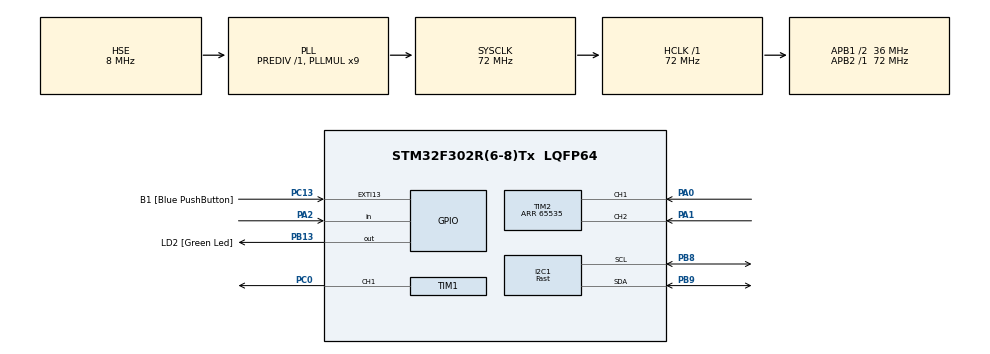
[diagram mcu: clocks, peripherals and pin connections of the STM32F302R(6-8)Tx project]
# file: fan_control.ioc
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I2C1.I2C_Speed_Mode=I2C_Fast
I2C1.Timing=0x0000020B
Mcu.Family=STM32F3
Mcu.Name=STM32F302R(6-8)Tx
Mcu.Package=LQFP64
NVIC.PriorityGroup=NVIC_PRIORITYGROUP_0
PA0.Signal=S_TIM2_CH1_ETR
PA1.Signal=S_TIM2_CH2
PA10.Signal=USART1_RX
PA13.GPIO_Label=TMS
PA13.Mode=Serial_Wire
PA13.Signal=SYS_JTMS-SWDIO
PA14.GPIO_Label=TCK
PA14.Mode=Serial_Wire
PA14.Signal=SYS_JTCK-SWCLK
PA2.Signal=GPIO_Input
PA3.GPIO_Label=USART_RX
PA3.GPIO_Mode=GPIO_MODE_AF_PP
PA3.GPIO_PuPd=GPIO_NOPULL
PA3.GPIO_Speed=GPIO_SPEED_FREQ_LOW
PA3.Signal=USART2_RX
PA9.Signal=USART1_TX
PB13.GPIO_Label=LD2 [Green Led]
PB13.Signal=GPIO_Output
PB3.GPIO_Label=SWO
PB3.Mode=Trace_Asynchronous_SW
PB3.Signal=SYS_JTDO-TRACESWO
PB8.Mode=I2C
PB8.Signal=I2C1_SCL
PB9.Mode=I2C
PB9.Signal=I2C1_SDA
PC0.Signal=S_TIM1_CH1
PC13.GPIO_Label=B1 [Blue PushButton]
PC13.GPIO_ModeDefaultEXTI=GPIO_MODE_IT_FALLING
PC13.Signal=GPXTI13
PC14\ -\ OSC32_IN.Mode=LSE-External-Oscillator
PC14\ -\ OSC32_IN.Signal=RCC_OSC32_IN
PC15\ -\ OSC32_OUT.Mode=LSE-External-Oscillator
PC15\ -\ OSC32_OUT.Signal=RCC_OSC32_OUT
PF0-OSC_IN.Mode=HSE-External-Oscillator
PF0-OSC_IN.Signal=RCC_OSC_IN
PF1-OSC_OUT.Mode=HSE-External-Oscillator
PF1-OSC_OUT.Signal=RCC_OSC_OUT
ProjectManager.HeapSize=0x200
ProjectManager.StackSize=0x400
ProjectManager.TargetToolchain=STM32CubeIDE
RCC.AHBFreq_Value=72000000
RCC.APB1CLKDivider=RCC_HCLK_DIV2
RCC.APB1Freq_Value=36000000
RCC.APB1TimFreq_Value=72000000
RCC.APB2Freq_Value=72000000
RCC.APB2TimFreq_Value=72000000
RCC.CortexFreq_Value=72000000
RCC.HCLKFreq_Value=72000000
RCC.HSE_VALUE=8000000
RCC.HSI_VALUE=8000000
RCC.PLLM=8
RCC.PLLMUL=RCC_PLL_MUL9
RCC.PLLN=336
RCC.PLLP=RCC_PLLP_DIV4
RCC.PLLQ=7
RCC.PLLSourceVirtual=RCC_PLLSOURCE_HSE
RCC.SYSCLKFreq_VALUE=72000000
RCC.SYSCLKSourceVirtual=RCC_SYSCLKSOURCE_PLLCLK
RCC.USBFreq_Value=72000000
SH.S_TIM1_CH1.0=TIM1_CH1,PWM Generation1 CH1
SH.S_TIM2_CH1_ETR.0=TIM2_CH1,Encoder_Interface
SH.S_TIM2_CH2.0=TIM2_CH2,Encoder_Interface
STMicroelectronics.X-CUBE-AI.9.0.0.HeapSize=0x800
STMicroelectronics.X-CUBE-AI.9.0.0.ReadyForCodeGeneration=false
STMicroelectronics.X-CUBE-AI.9.0.0.StackSize=0x800
TIM1.AutoReloadPreload=TIM_AUTORELOAD_PRELOAD_ENABLE
TIM1.Channel-PWM\ Generation1\ CH1=TIM_CHANNEL_1
TIM1.Period=2878
TIM2.AutoReloadPreload=TIM_AUTORELOAD_PRELOAD_ENABLE
TIM2.EncoderMode=TIM_ENCODERMODE_TI12
TIM2.IC1Filter=10
TIM2.Period=65535
VP_TIM1_VS_ClockSourceINT.Mode=Internal
board=NUCLEO-F302R8

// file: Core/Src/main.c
/* USER CODE BEGIN Header */
/**
  ******************************************************************************
  * @file           : main.c
  * @brief          : Main program body
  ******************************************************************************
  * @attention
  *
  * Copyright (c) 2024 STMicroelectronics.
  * All rights reserved.
  *
  * This software is licensed under terms that can be found in the LICENSE file
  * in the root directory of this software component.
  * If no LICENSE file comes with this software, it is provided AS-IS.
  *
  ******************************************************************************
  */
/* USER CODE END Header */
#include "main.h"

/* USER CODE BEGIN Includes */
#include "ssd1306.h"
#include "fonts.h"
#include "test.h"
/* USER CODE END Includes */

/* USER CODE BEGIN PD */
#define MAX_ENCODER_COUNT 115 // Adjust this based on your needs
/* USER CODE END PD */

I2C_HandleTypeDef hi2c1;

TIM_HandleTypeDef htim1;
TIM_HandleTypeDef htim2;

void SystemClock_Config(void);
static void MX_GPIO_Init(void);
static void MX_I2C1_Init(void);
static void MX_TIM2_Init(void);
static void MX_TIM1_Init(void);

int main(void)
{

  /* USER CODE BEGIN 1 */
	static uint8_t PWM_Speed[50];
	static uint8_t PWM_test[50];
	float duty_cycle_percentage;
	uint16_t encoder_value = 0;
	uint32_t scaled_encoder_value = 0;

  /* USER CODE END 1 */

  /* MCU Configuration--------------------------------------------------------*/

  /* Reset of all peripherals, Initializes the Flash interface and the Systick. */
  HAL_Init();

  /* Configure the system clock */
  SystemClock_Config();

  /* Initialize all configured peripherals */
  MX_GPIO_Init();
  MX_I2C1_Init();
  MX_TIM2_Init();
  MX_TIM1_Init();
  /* USER CODE BEGIN 2 */
  SSD1306_Init (); // initialize the display
  // Start the encoder and PWM timers
  HAL_TIM_Encoder_Start(&htim2, TIM_CHANNEL_ALL);
  HAL_TIM_PWM_Start(&htim1, TIM_CHANNEL_1);
/*
  SSD1306_GotoXY (10,10); // goto 10, 10
  SSD1306_Puts ("testing", &Font_7x10, 1); // print Hello

  SSD1306_GotoXY (10, 30);
  SSD1306_Puts ("WORLD !!", &Font_11x18, 1);
  SSD1306_UpdateScreen(); // update screen
  */
  HAL_TIM_Encoder_Start(&htim2, TIM_CHANNEL_ALL); //Start encoder timer

  /* USER CODE END 2 */

  /* Infinite loop */
  /* USER CODE BEGIN WHILE */
  while (1)
  {
      encoder_value = TIM2->CNT;

      // Ensure encoder_value is within the valid range
      if (encoder_value >= MAX_ENCODER_COUNT)
      {
    	  TIM2->CNT = MAX_ENCODER_COUNT;
    	  encoder_value =  TIM2->CNT;
      }
      else if(encoder_value <= 0)
      {
    	  TIM2->CNT = 0;
    	  encoder_value =  TIM2->CNT;
      }

      // Scale the encoder value up by a factor to increase the steps
      scaled_encoder_value = encoder_value * 25;  // Adjust the factor to control step size

      // Update the PWM duty cycle
      TIM1->CCR1 = scaled_encoder_value;
      duty_cycle_percentage = ((float)scaled_encoder_value / 2875) * 100;
      HAL_Delay(10);
      sprintf((char *)PWM_Speed, "PWM: %3.2f", duty_cycle_percentage);
      SSD1306_GotoXY(10, 30);
      SSD1306_Puts((char *)PWM_Speed, &Font_7x10, 1);
      SSD1306_UpdateScreen();
    /* USER CODE END WHILE */

  }
}

void SystemClock_Config(void)
{
  RCC_OscInitTypeDef RCC_OscInitStruct = {0};
  RCC_ClkInitTypeDef RCC_ClkInitStruct = {0};
  RCC_PeriphCLKInitTypeDef PeriphClkInit = {0};

  /** Initializes the RCC Oscillators according to the specified parameters
  * in the RCC_OscInitTypeDef structure.
  */
  RCC_OscInitStruct.OscillatorType = RCC_OSCILLATORTYPE_HSI|RCC_OSCILLATORTYPE_HSE;
  RCC_OscInitStruct.HSEState = RCC_HSE_ON;
  RCC_OscInitStruct.HSEPredivValue = RCC_HSE_PREDIV_DIV1;
  RCC_OscInitStruct.HSIState = RCC_HSI_ON;
  RCC_OscInitStruct.HSICalibrationValue = RCC_HSICALIBRATION_DEFAULT;
  RCC_OscInitStruct.PLL.PLLState = RCC_PLL_ON;
  RCC_OscInitStruct.PLL.PLLSource = RCC_PLLSOURCE_HSE;
  RCC_OscInitStruct.PLL.PLLMUL = RCC_PLL_MUL9;
  if (HAL_RCC_OscConfig(&RCC_OscInitStruct) != HAL_OK)
  {
    Error_Handler();
  }

  /** Initializes the CPU, AHB and APB buses clocks
  */
  RCC_ClkInitStruct.ClockType = RCC_CLOCKTYPE_HCLK|RCC_CLOCKTYPE_SYSCLK
                              |RCC_CLOCKTYPE_PCLK1|RCC_CLOCKTYPE_PCLK2;
  RCC_ClkInitStruct.SYSCLKSource = RCC_SYSCLKSOURCE_PLLCLK;
  RCC_ClkInitStruct.AHBCLKDivider = RCC_SYSCLK_DIV1;
  RCC_ClkInitStruct.APB1CLKDivider = RCC_HCLK_DIV2;
  RCC_ClkInitStruct.APB2CLKDivider = RCC_HCLK_DIV1;

  if (HAL_RCC_ClockConfig(&RCC_ClkInitStruct, FLASH_LATENCY_2) != HAL_OK)
  {
    Error_Handler();
  }
  PeriphClkInit.PeriphClockSelection = RCC_PERIPHCLK_I2C1|RCC_PERIPHCLK_TIM1;
  PeriphClkInit.I2c1ClockSelection = RCC_I2C1CLKSOURCE_HSI;
  PeriphClkInit.Tim1ClockSelection = RCC_TIM1CLK_HCLK;
  if (HAL_RCCEx_PeriphCLKConfig(&PeriphClkInit) != HAL_OK)
  {
    Error_Handler();
  }
}

static void MX_I2C1_Init(void)
{

  hi2c1.Instance = I2C1;
  hi2c1.Init.Timing = 0x0000020B;
  hi2c1.Init.OwnAddress1 = 0;
  hi2c1.Init.AddressingMode = I2C_ADDRESSINGMODE_7BIT;
  hi2c1.Init.DualAddressMode = I2C_DUALADDRESS_DISABLE;
  hi2c1.Init.OwnAddress2 = 0;
  hi2c1.Init.OwnAddress2Masks = I2C_OA2_NOMASK;
  hi2c1.Init.GeneralCallMode = I2C_GENERALCALL_DISABLE;
  hi2c1.Init.NoStretchMode = I2C_NOSTRETCH_DISABLE;
  if (HAL_I2C_Init(&hi2c1) != HAL_OK)
  {
    Error_Handler();
  }

  /** Configure Analogue filter
  */
  if (HAL_I2CEx_ConfigAnalogFilter(&hi2c1, I2C_ANALOGFILTER_ENABLE) != HAL_OK)
  {
    Error_Handler();
  }

  /** Configure Digital filter
  */
  if (HAL_I2CEx_ConfigDigitalFilter(&hi2c1, 0) != HAL_OK)
  {
    Error_Handler();
  }

}

static void MX_TIM1_Init(void)
{

  TIM_ClockConfigTypeDef sClockSourceConfig = {0};
  TIM_MasterConfigTypeDef sMasterConfig = {0};
  TIM_OC_InitTypeDef sConfigOC = {0};
  TIM_BreakDeadTimeConfigTypeDef sBreakDeadTimeConfig = {0};

  htim1.Instance = TIM1;
  htim1.Init.Prescaler = 0;
  htim1.Init.CounterMode = TIM_COUNTERMODE_UP;
  htim1.Init.Period = 2878;
  htim1.Init.ClockDivision = TIM_CLOCKDIVISION_DIV1;
  htim1.Init.RepetitionCounter = 0;
  htim1.Init.AutoReloadPreload = TIM_AUTORELOAD_PRELOAD_ENABLE;
  if (HAL_TIM_Base_Init(&htim1) != HAL_OK)
  {
    Error_Handler();
  }
  sClockSourceConfig.ClockSource = TIM_CLOCKSOURCE_INTERNAL;
  if (HAL_TIM_ConfigClockSource(&htim1, &sClockSourceConfig) != HAL_OK)
  {
    Error_Handler();
  }
  if (HAL_TIM_PWM_Init(&htim1) != HAL_OK)
  {
    Error_Handler();
  }
  sMasterConfig.MasterOutputTrigger = TIM_TRGO_RESET;
  sMasterConfig.MasterOutputTrigger2 = TIM_TRGO2_RESET;
  sMasterConfig.MasterSlaveMode = TIM_MASTERSLAVEMODE_DISABLE;
  if (HAL_TIMEx_MasterConfigSynchronization(&htim1, &sMasterConfig) != HAL_OK)
  {
    Error_Handler();
  }
  sConfigOC.OCMode = TIM_OCMODE_PWM1;
  sConfigOC.Pulse = 0;
  sConfigOC.OCPolarity = TIM_OCPOLARITY_HIGH;
  sConfigOC.OCNPolarity = TIM_OCNPOLARITY_HIGH;
  sConfigOC.OCFastMode = TIM_OCFAST_DISABLE;
  sConfigOC.OCIdleState = TIM_OCIDLESTATE_RESET;
  sConfigOC.OCNIdleState = TIM_OCNIDLESTATE_RESET;
  if (HAL_TIM_PWM_ConfigChannel(&htim1, &sConfigOC, TIM_CHANNEL_1) != HAL_OK)
  {
    Error_Handler();
  }
  sBreakDeadTimeConfig.OffStateRunMode = TIM_OSSR_DISABLE;
  sBreakDeadTimeConfig.OffStateIDLEMode = TIM_OSSI_DISABLE;
  sBreakDeadTimeConfig.LockLevel = TIM_LOCKLEVEL_OFF;
  sBreakDeadTimeConfig.DeadTime = 0;
  sBreakDeadTimeConfig.BreakState = TIM_BREAK_DISABLE;
  sBreakDeadTimeConfig.BreakPolarity = TIM_BREAKPOLARITY_HIGH;
  sBreakDeadTimeConfig.BreakFilter = 0;
  sBreakDeadTimeConfig.Break2State = TIM_BREAK2_DISABLE;
  sBreakDeadTimeConfig.Break2Polarity = TIM_BREAK2POLARITY_HIGH;
  sBreakDeadTimeConfig.Break2Filter = 0;
  sBreakDeadTimeConfig.AutomaticOutput = TIM_AUTOMATICOUTPUT_DISABLE;
  if (HAL_TIMEx_ConfigBreakDeadTime(&htim1, &sBreakDeadTimeConfig) != HAL_OK)
  {
    Error_Handler();
  }
  HAL_TIM_MspPostInit(&htim1);

}

static void MX_TIM2_Init(void)
{

  TIM_Encoder_InitTypeDef sConfig = {0};
  TIM_MasterConfigTypeDef sMasterConfig = {0};

  htim2.Instance = TIM2;
  htim2.Init.Prescaler = 0;
  htim2.Init.CounterMode = TIM_COUNTERMODE_UP;
  htim2.Init.Period = 65535;
  htim2.Init.ClockDivision = TIM_CLOCKDIVISION_DIV1;
  htim2.Init.AutoReloadPreload = TIM_AUTORELOAD_PRELOAD_ENABLE;
  sConfig.EncoderMode = TIM_ENCODERMODE_TI12;
  sConfig.IC1Polarity = TIM_ICPOLARITY_RISING;
  sConfig.IC1Selection = TIM_ICSELECTION_DIRECTTI;
  sConfig.IC1Prescaler = TIM_ICPSC_DIV1;
  sConfig.IC1Filter = 10;
  sConfig.IC2Polarity = TIM_ICPOLARITY_RISING;
  sConfig.IC2Selection = TIM_ICSELECTION_DIRECTTI;
  sConfig.IC2Prescaler = TIM_ICPSC_DIV1;
  sConfig.IC2Filter = 0;
  if (HAL_TIM_Encoder_Init(&htim2, &sConfig) != HAL_OK)
  {
    Error_Handler();
  }
  sMasterConfig.MasterOutputTrigger = TIM_TRGO_RESET;
  sMasterConfig.MasterSlaveMode = TIM_MASTERSLAVEMODE_DISABLE;
  if (HAL_TIMEx_MasterConfigSynchronization(&htim2, &sMasterConfig) != HAL_OK)
  {
    Error_Handler();
  }

}

static void MX_GPIO_Init(void)
{
  GPIO_InitTypeDef GPIO_InitStruct = {0};

  /* GPIO Ports Clock Enable */
  __HAL_RCC_GPIOC_CLK_ENABLE();
  __HAL_RCC_GPIOF_CLK_ENABLE();
  __HAL_RCC_GPIOA_CLK_ENABLE();
  __HAL_RCC_GPIOB_CLK_ENABLE();

  /*Configure GPIO pin Output Level */
  HAL_GPIO_WritePin(LD2_GPIO_Port, LD2_Pin, GPIO_PIN_RESET);

  /*Configure GPIO pin : B1_Pin */
  GPIO_InitStruct.Pin = B1_Pin;
  GPIO_InitStruct.Mode = GPIO_MODE_IT_FALLING;
  GPIO_InitStruct.Pull = GPIO_NOPULL;
  HAL_GPIO_Init(B1_GPIO_Port, &GPIO_InitStruct);

  /*Configure GPIO pin : PA2 */
  GPIO_InitStruct.Pin = GPIO_PIN_2;
  GPIO_InitStruct.Mode = GPIO_MODE_INPUT;
  GPIO_InitStruct.Pull = GPIO_NOPULL;
  HAL_GPIO_Init(GPIOA, &GPIO_InitStruct);

  /*Configure GPIO pin : USART_RX_Pin */
  GPIO_InitStruct.Pin = USART_RX_Pin;
  GPIO_InitStruct.Mode = GPIO_MODE_AF_PP;
  GPIO_InitStruct.Pull = GPIO_NOPULL;
  GPIO_InitStruct.Speed = GPIO_SPEED_FREQ_LOW;
  GPIO_InitStruct.Alternate = GPIO_AF7_USART2;
  HAL_GPIO_Init(USART_RX_GPIO_Port, &GPIO_InitStruct);

  /*Configure GPIO pin : LD2_Pin */
  GPIO_InitStruct.Pin = LD2_Pin;
  GPIO_InitStruct.Mode = GPIO_MODE_OUTPUT_PP;
  GPIO_InitStruct.Pull = GPIO_NOPULL;
  GPIO_InitStruct.Speed = GPIO_SPEED_FREQ_LOW;
  HAL_GPIO_Init(LD2_GPIO_Port, &GPIO_InitStruct);

  /*Configure GPIO pins : PA9 PA10 */
  GPIO_InitStruct.Pin = GPIO_PIN_9|GPIO_PIN_10;
  GPIO_InitStruct.Mode = GPIO_MODE_AF_PP;
  GPIO_InitStruct.Pull = GPIO_NOPULL;
  GPIO_InitStruct.Speed = GPIO_SPEED_FREQ_HIGH;
  GPIO_InitStruct.Alternate = GPIO_AF7_USART1;
  HAL_GPIO_Init(GPIOA, &GPIO_InitStruct);

}

void Error_Handler(void)
{
  __disable_irq();
  while (1)
  {
  }
}
